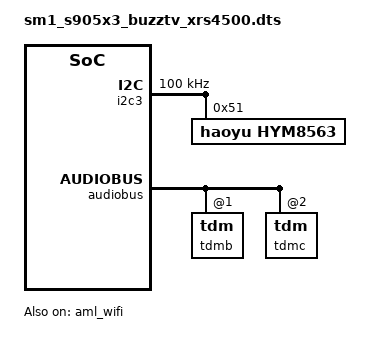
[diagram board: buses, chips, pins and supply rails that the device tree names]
#include "sm1_s905x3_4g_1gbit.dts"

/{
	coreelec-dt-id = "sm1_s905x3_buzztv_xrs4500";

  gpioleds {
      sys_led {
          gpios=<&gpio_ao GPIOAO_11 GPIO_ACTIVE_HIGH>;
      };
  };

	vsledpwm {
		compatible = "vsledpwm";
		status = "okay";
	};

	auge_sound {
		/delete-property/ avout_mute-gpios;
	};
};

&aml_wifi{
	status = "okay";
	interrupt-gpios = <&gpio  GPIOX_18  GPIO_ACTIVE_HIGH>;
	power_on-gpios = <&gpio   GPIOX_6  GPIO_ACTIVE_HIGH>;
	irq_trigger_type = "GPIO_IRQ_HIGH";
};

&i2c3 {
	status = "okay";
	clock-frequency = <100000>; /* default 100k */

	hym8563: hym8563@51 {
		/* SCK:GPIOA_15 / SDA:GPIOA_14 / INT:GPIOAO_2 */
		compatible = "haoyu,hym8563";
		reg = <0x51>;
		interrupts = <13 IRQ_TYPE_EDGE_FALLING>;
		//i2c_bus = "i2c_bus_c";
		#clock-cells = <0>;
		status = "okay";
	};
};

&audiobus {
	tdmb: tdm@1 {
		mclk_pad = <0>;  /* 0: mclk_0; 1: mclk_1 */
	};

	tdmc: tdm@2 {
		mclk_pad = <0>;  /* 0: mclk_0; 1: mclk_1 */
	};
};

&pdmin {
	mux { /* gpioa_5, gpioa_6, gpioa_7, gpioa_8, gpioa_9*/
		groups = "pdm_din0_a",
		/*"pdm_din1_a",*/
		"pdm_din2_a",
		/*"pdm_din3_a",*/
		"pdm_dclk_a";
		function = "pdm";
	};
};

&sd_emmc_a {
	sdio {
		max-frequency = <170000000>;
	};
};
